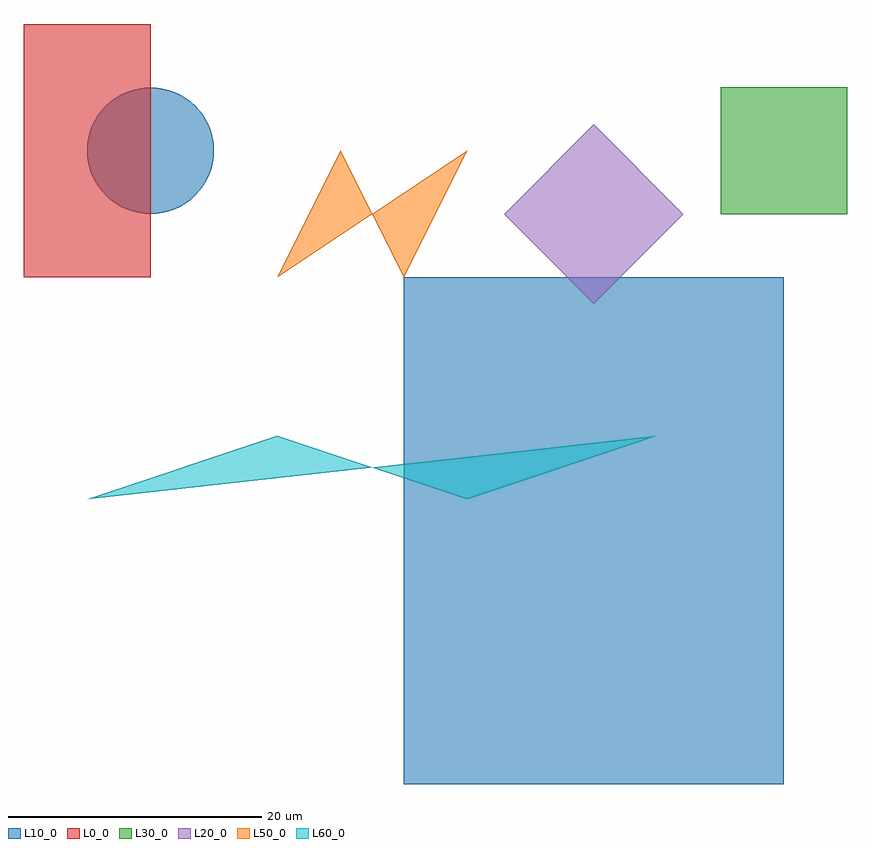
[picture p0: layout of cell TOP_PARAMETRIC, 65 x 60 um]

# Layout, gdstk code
import gdstk
lib = gdstk.Library(unit=1e-6, precision=1e-09)
def R(c, l, rs):  # rectangles x0, y0, x1, y1
    for r in rs: c.add(gdstk.rectangle(r[:2], r[2:], *l))
def P(c, l, *ps):  # polygons
    for p in ps: c.add(gdstk.Polygon(p, *l))
L0_0 = (0, 0)
L10_0 = (10, 0)
L20_0 = (20, 0)
L30_0 = (30, 0)
L50_0 = (50, 0)
L60_0 = (60, 0)

top_parametric = lib.new_cell('TOP_PARAMETRIC')
R(top_parametric, L0_0, [(0,0,10,20)])
R(top_parametric, L10_0, [(30,-40,60,0)])
P(top_parametric, L10_0, [(15,10),(14.976,10.49),(14.904,10.975),(14.785,11.451),(14.619,11.913),(14.41,12.357),(14.157,12.778),(13.865,13.172),(13.536,13.536),(13.172,13.865),(12.778,14.157),(12.357,14.41),(11.913,14.619),(11.451,14.785),(10.975,14.904),(10.49,14.976),(10,15),(9.51,14.976),(9.025,14.904),(8.549,14.785),(8.087,14.619),(7.643,14.41),(7.222,14.157),(6.828,13.865),(6.464,13.536),(6.135,13.172),(5.843,12.778),(5.59,12.357),(5.381,11.913),(5.215,11.451),(5.096,10.975),(5.024,10.49),(5,10),(5.024,9.51),(5.096,9.025),(5.215,8.549),(5.381,8.087),(5.59,7.643),(5.843,7.222),(6.135,6.828),(6.464,6.464),(6.828,6.135),(7.222,5.843),(7.643,5.59),(8.087,5.381),(8.549,5.215),(9.025,5.096),(9.51,5.024),(10,5),(10.49,5.024),(10.975,5.096),(11.451,5.215),(11.913,5.381),(12.357,5.59),(12.778,5.843),(13.172,6.135),(13.536,6.464),(13.865,6.828),(14.157,7.222),(14.41,7.643),(14.619,8.087),(14.785,8.549),(14.904,9.025),(14.976,9.51)])
P(top_parametric, L20_0, [(45,-2.071),(37.929,5),(45,12.071),(52.071,5)])
R(top_parametric, L30_0, [(55,5,65,15)])
P(top_parametric, L50_0, [(20,0),(25,10),(30,0),(35,10)])
P(top_parametric, L60_0, [(5,-17.5),(20,-12.5),(35,-17.5),(50,-12.5)])

lib.write_gds('TOP_PARAMETRIC.gds')
